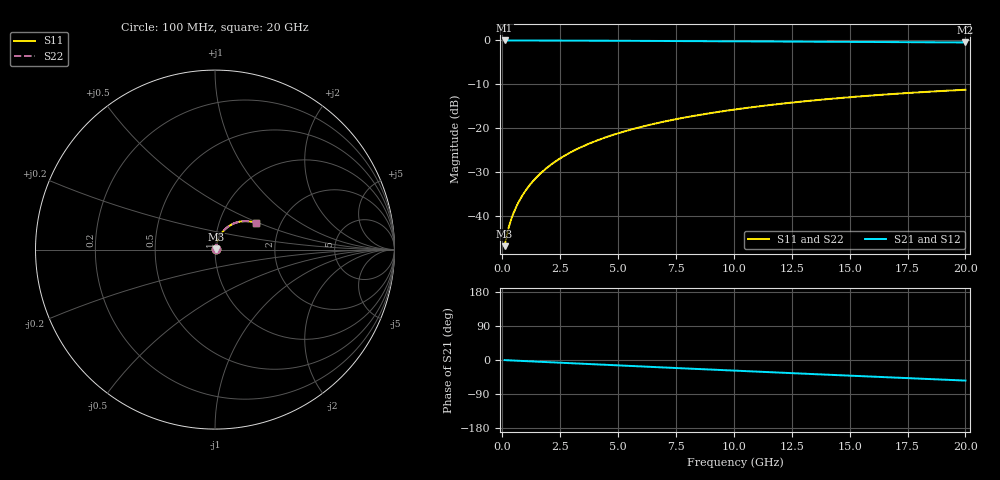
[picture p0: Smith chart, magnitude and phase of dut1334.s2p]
! Touchstone file exported from HFSS 2026.1.0
!  File:  C:/ffzhzh/LocalFiles/Ansys_Project_Files/temp_train_BSMRDL_1334_1783178748_22436.aedt
!  Generated:  11:27:13 PM Jul  4, 2026
!  Design:  BSMRDL
!  Project:  temp_train_BSMRDL_1334_1783178748_22436
! Variables:
!  h_bsmrdl = 3.7um
!  h_ox = 20um
!  h_rdl = 5um
!  h_sub = 80um
!  h_tmrdl = 5um
!  h_tsv = 80um
!  h_via = 3um
!  l_bsmrdl = 922.1um
!  l_sub = 1322.1um
!  l_tmrdl = 200um
!  m_sub = 200um
!  pitch = 37.01um
!  r_tsv = 6um
!  s_tmrdl = 10um
!  w_bsmrdl = 24.63um
!  w_sub = 500um
!  w_tmrdl = 12um
!  x_tsv_center1 = 206um
!  x_tsv_center2 = 1152.73um
!  x_tsv_center3 = 1364.73um
!  x_tsv_center4 = 2311.46um
!  x_tsv_center5 = 2523.46um
!  x_tsv_center6 = 3470.19um
# GHz S MA R 50.000000
! Terminal data exported
! Port[1] = BSM_RDL1_1_T1
! Port[2] = BSM_RDL1_1_T2
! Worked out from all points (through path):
!   200 points, 100 MHz to 20 GHz, reference 50 ohm
!   highest |S21| = -0.03 dB at 100 MHz (marker M1); lowest = -0.5 dB at 20 GHz (marker M2)
!   group delay of S21, straight-line fit = 7.53 ps
!   lowest |S11| = -47.0 dB at 100 MHz (marker M3), VSWR 1.01, Z = 50.4 + j0.229 ohm
!   |S11| at or under -10 dB: start of sweep to end of sweep
!   |S22| runs from -47.0 to -11.3 dB; largest |S21 - S12| = 6.4e-15
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0.1  0.004478 30.5  0.9962 -0.3  0.9962 -0.3  0.004478 30.5
! Gamma 0 0 0 0
! Port Impedance 50 0 50 0
0.2  0.006051 45.6  0.9958 -0.6  0.9958 -0.6  0.006051 45.6
0.3  0.007705 53.2  0.9955 -0.9  0.9955 -0.9  0.007705 53.2
0.4  0.009323 58.0  0.9952 -1.2  0.9952 -1.2  0.009323 58.0
0.5  0.01093 61.5  0.995 -1.5  0.995 -1.5  0.01093 61.5
0.6  0.01254 64.2  0.9948 -1.8  0.9948 -1.8  0.01254 64.2
0.8  0.01581 68.1  0.9946 -2.3  0.9946 -2.3  0.01581 68.1
1  0.01916 70.7  0.9944 -2.9  0.9944 -2.9  0.01916 70.7
1.2  0.02256 72.3  0.9942 -3.5  0.9942 -3.5  0.02256 72.3
1.4  0.02598 73.4  0.994 -4.0  0.994 -4.0  0.02598 73.4
1.7  0.03116 74.3  0.9937 -4.9  0.9937 -4.9  0.03116 74.3
2.2  0.0398 74.8  0.9931 -6.3  0.9931 -6.3  0.0398 74.8
2.8  0.05013 74.4  0.9922 -8.0  0.9922 -8.0  0.05013 74.4
3.5  0.06204 73.3  0.9909 -10.0  0.9909 -10.0  0.06204 73.3
4.2  0.07376 71.9  0.9895 -12.0  0.9895 -12.0  0.07376 71.9
5  0.08688 70.1  0.9876 -14.2  0.9876 -14.2  0.08688 70.1
6.8  0.1153 65.7  0.9831 -19.3  0.9831 -19.3  0.1153 65.7
8.3  0.1377 61.9  0.9789 -23.4  0.9789 -23.4  0.1377 61.9
10.1  0.1632 57.3  0.9738 -28.3  0.9738 -28.3  0.1632 57.3
13.4  0.2057 49.0  0.964 -37.1  0.964 -37.1  0.2057 48.9
16.7  0.2424 40.7  0.9544 -45.8  0.9544 -45.8  0.2424 40.7
20  0.2729 32.5  0.9454 -54.3  0.9454 -54.3  0.2729 32.5
